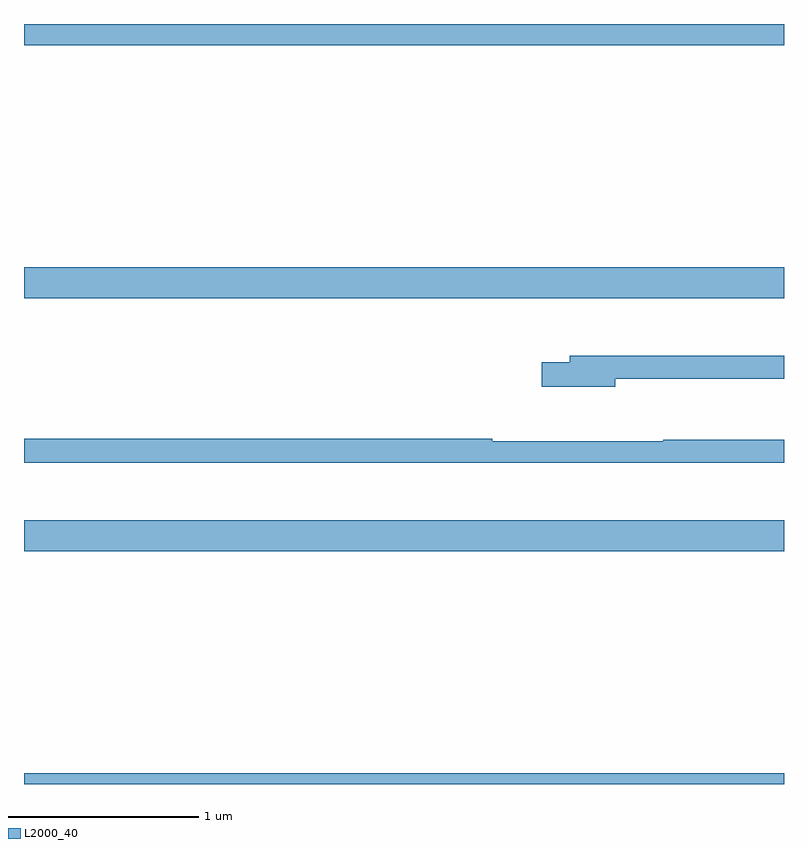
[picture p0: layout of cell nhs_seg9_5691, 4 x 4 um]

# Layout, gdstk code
import gdstk
lib = gdstk.Library(unit=1e-6, precision=1e-09)
def R(c, l, rs):  # rectangles x0, y0, x1, y1
    for r in rs: c.add(gdstk.rectangle(r[:2], r[2:], *l))
def P(c, l, *ps):  # polygons
    for p in ps: c.add(gdstk.Polygon(p, *l))
L2000_40 = (2000, 40)

nhs_seg9_5691 = lib.new_cell('nhs_seg9_5691')
R(nhs_seg9_5691, L2000_40, [(441,1224.5,445,1224.556), (441,1225.724,445,1225.888), (441,1227.056,445,1227.22), (441,1228.388,445,1228.5)])
P(nhs_seg9_5691, L2000_40, [(444.112,1226.634),(445,1226.634),(445,1226.755),(443.873,1226.755),(443.873,1226.721),(443.724,1226.721),(443.724,1226.591),(444.112,1226.591)],
  [(445,1226.311),(444.364,1226.311),(444.364,1226.303),(443.464,1226.303),(443.464,1226.318),(441,1226.318),(441,1226.19),(445,1226.19)])

lib.write_gds('nhs_seg9_5691.gds')
